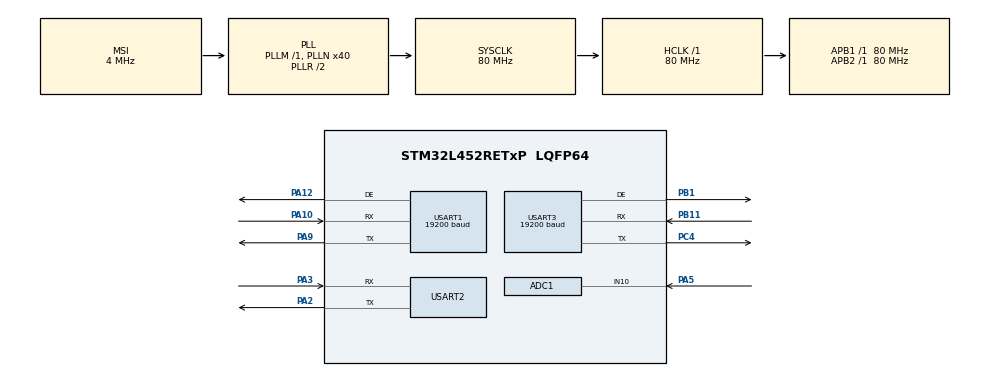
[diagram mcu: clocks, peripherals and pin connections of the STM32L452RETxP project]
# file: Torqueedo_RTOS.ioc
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<<<<<<< HEAD
ADC1.Channel-0\#ChannelRegularConversion=ADC_CHANNEL_10
ADC1.NbrOfConversionFlag=1
ADC1.OffsetNumber-0\#ChannelRegularConversion=ADC_OFFSET_NONE
ADC1.Rank-0\#ChannelRegularConversion=1
ADC1.SamplingTime-0\#ChannelRegularConversion=ADC_SAMPLETIME_2CYCLES_5
ADC1.master=1
Dma.Request0=USART2_RX
Dma.Request1=USART3_RX
Dma.USART2_RX.0.Direction=DMA_PERIPH_TO_MEMORY
Dma.USART2_RX.0.Instance=DMA1_Channel6
Dma.USART2_RX.0.MemDataAlignment=DMA_MDATAALIGN_BYTE
Dma.USART2_RX.0.MemInc=DMA_MINC_ENABLE
Dma.USART2_RX.0.Mode=DMA_NORMAL
Dma.USART2_RX.0.PeriphDataAlignment=DMA_PDATAALIGN_BYTE
Dma.USART2_RX.0.PeriphInc=DMA_PINC_DISABLE
Dma.USART2_RX.0.Priority=DMA_PRIORITY_LOW
Dma.USART3_RX.1.Direction=DMA_PERIPH_TO_MEMORY
Dma.USART3_RX.1.Instance=DMA1_Channel3
Dma.USART3_RX.1.MemDataAlignment=DMA_MDATAALIGN_BYTE
Dma.USART3_RX.1.MemInc=DMA_MINC_ENABLE
Dma.USART3_RX.1.Mode=DMA_NORMAL
Dma.USART3_RX.1.PeriphDataAlignment=DMA_PDATAALIGN_BYTE
Dma.USART3_RX.1.PeriphInc=DMA_PINC_DISABLE
Dma.USART3_RX.1.Priority=DMA_PRIORITY_LOW
FREERTOS.BinarySemaphores01=UART1_Bytes,Dynamic,NULL;UART3_Bytes,Dynamic,NULL
FREERTOS.Queues01=Input_UART,50,uint8_t,0,Dynamic,NULL,NULL
FREERTOS.Tasks01=defaultTask,24,128,StartDefaultTask,Default,NULL,Dynamic,NULL,NULL;UART1_to_Queue,24,128,Start_UART1_to_Queue,Default,NULL,Dynamic,NULL,NULL;Queue_to_Motor,8,128,StartQueue_to_Motor,Default,NULL,Dynamic,NULL,NULL;UART3_to_Queue,24,128,StartUART3_to_Queue,Default,NULL,Dynamic,NULL,NULL;Queue_to_SH,8,128,StartQueue_to_SH,Default,NULL,Dynamic,NULL,NULL
FREERTOS.configTOTAL_HEAP_SIZE=5000
Mcu.Family=STM32L4
Mcu.Name=STM32L452RETxP
Mcu.Package=LQFP64
NVIC.DMA1_Channel3_IRQn=true\:5\:0\:false\:false\:true\:true\:false\:true
NVIC.DMA1_Channel6_IRQn=true\:5\:0\:false\:false\:true\:true\:false\:true
NVIC.PriorityGroup=NVIC_PRIORITYGROUP_4
NVIC.TIM1_UP_TIM16_IRQn=true\:0\:0\:false\:false\:true\:false\:false\:true
NVIC.TIM2_IRQn=true\:5\:0\:false\:false\:true\:true\:true\:true
NVIC.TimeBase=TIM1_UP_TIM16_IRQn
NVIC.TimeBaseIP=TIM1
NVIC.USART1_IRQn=true\:5\:0\:false\:false\:true\:true\:true\:true
NVIC.USART2_IRQn=true\:5\:0\:false\:false\:true\:true\:true\:true
NVIC.USART3_IRQn=true\:5\:0\:false\:false\:true\:true\:true\:true
PA10.Mode=Asynchronous
PA10.Signal=USART1_RX
PA12.Mode=Hardware Flow Control (RS485)
PA12.Signal=USART1_DE
PA2.Mode=Asynchronous
PA2.Signal=USART2_TX
PA3.Mode=Asynchronous
PA3.Signal=USART2_RX
PA5.Signal=ADCx_IN10
PA9.Mode=Asynchronous
PA9.Signal=USART1_TX
PB1.Mode=Hardware Flow Control (RS485)
PB1.Signal=USART3_DE
PB11.Mode=Asynchronous
PB11.Signal=USART3_RX
PC4.Mode=Asynchronous
PC4.Signal=USART3_TX
ProjectManager.HeapSize=0x200
ProjectManager.StackSize=0x400
ProjectManager.TargetToolchain=STM32CubeIDE
RCC.ADCFreq_Value=32000000
RCC.AHBFreq_Value=80000000
RCC.APB1Freq_Value=80000000
RCC.APB1TimFreq_Value=80000000
RCC.APB2Freq_Value=80000000
RCC.APB2TimFreq_Value=80000000
RCC.CortexFreq_Value=80000000
RCC.HCLKFreq_Value=80000000
RCC.HSE_VALUE=8000000
RCC.HSI48_VALUE=48000000
RCC.HSI_VALUE=16000000
RCC.LSE_VALUE=32768
RCC.MSI_VALUE=4000000
RCC.PLLN=40
RCC.PLLSAI1N=16
RCC.SYSCLKFreq_VALUE=80000000
RCC.SYSCLKSource=RCC_SYSCLKSOURCE_PLLCLK
RCC.USBFreq_Value=32000000
RCC.VCOOutputFreq_Value=160000000
SH.ADCx_IN10.0=ADC1_IN10,IN10-Single-Ended
TIM2.Channel-Output\ Compare1\ No\ Output=TIM_CHANNEL_1
TIM2.Period=5000
TIM2.Prescaler=8
USART1.BaudRate=19200
USART1.VirtualMode-Asynchronous=VM_ASYNC
USART1.VirtualMode-Hardware\ Flow\ Control\ (RS485)=VM_ASYNC
USART2.VirtualMode-Asynchronous=VM_ASYNC
USART3.BaudRate=19200
USART3.VirtualMode-Asynchronous=VM_ASYNC
USART3.VirtualMode-Hardware\ Flow\ Control\ (RS485)=VM_ASYNC
VP_FREERTOS_VS_CMSIS_V2.Mode=CMSIS_V2
VP_SYS_VS_tim1.Mode=TIM1
VP_TIM2_VS_no_output1.Mode=Output Compare1 No Output
board=custom
=======
ADC1.Channel-0\#ChannelRegularConversion=ADC_CHANNEL_10
ADC1.NbrOfConversionFlag=1
ADC1.OffsetNumber-0\#ChannelRegularConversion=ADC_OFFSET_NONE
ADC1.Rank-0\#ChannelRegularConversion=1
ADC1.SamplingTime-0\#ChannelRegularConversion=ADC_SAMPLETIME_2CYCLES_5
ADC1.master=1
Dma.Request0=USART2_RX
Dma.Request1=USART3_RX
Dma.USART2_RX.0.Direction=DMA_PERIPH_TO_MEMORY
Dma.USART2_RX.0.Instance=DMA1_Channel6
Dma.USART2_RX.0.MemDataAlignment=DMA_MDATAALIGN_BYTE
Dma.USART2_RX.0.MemInc=DMA_MINC_ENABLE
Dma.USART2_RX.0.Mode=DMA_NORMAL
Dma.USART2_RX.0.PeriphDataAlignment=DMA_PDATAALIGN_BYTE
Dma.USART2_RX.0.PeriphInc=DMA_PINC_DISABLE
Dma.USART2_RX.0.Priority=DMA_PRIORITY_LOW
Dma.USART3_RX.1.Direction=DMA_PERIPH_TO_MEMORY
Dma.USART3_RX.1.Instance=DMA1_Channel3
Dma.USART3_RX.1.MemDataAlignment=DMA_MDATAALIGN_BYTE
Dma.USART3_RX.1.MemInc=DMA_MINC_ENABLE
Dma.USART3_RX.1.Mode=DMA_NORMAL
Dma.USART3_RX.1.PeriphDataAlignment=DMA_PDATAALIGN_BYTE
Dma.USART3_RX.1.PeriphInc=DMA_PINC_DISABLE
Dma.USART3_RX.1.Priority=DMA_PRIORITY_LOW
FREERTOS.BinarySemaphores01=UART1_Bytes,Dynamic,NULL;UART3_Bytes,Dynamic,NULL
FREERTOS.Queues01=Input_UART,50,uint8_t,0,Dynamic,NULL,NULL
FREERTOS.Tasks01=defaultTask,24,128,StartDefaultTask,Default,NULL,Dynamic,NULL,NULL;UART1_to_Queue,24,128,Start_UART1_to_Queue,Default,NULL,Dynamic,NULL,NULL;Queue_to_Motor,8,128,StartQueue_to_Motor,Default,NULL,Dynamic,NULL,NULL;UART3_to_Queue,24,128,StartUART3_to_Queue,Default,NULL,Dynamic,NULL,NULL;Queue_to_SH,8,128,StartQueue_to_SH,Default,NULL,Dynamic,NULL,NULL
FREERTOS.configTOTAL_HEAP_SIZE=5000
Mcu.Family=STM32L4
Mcu.Name=STM32L452RETxP
Mcu.Package=LQFP64
NVIC.DMA1_Channel3_IRQn=true\:5\:0\:false\:false\:true\:true\:false\:true
NVIC.DMA1_Channel6_IRQn=true\:5\:0\:false\:false\:true\:true\:false\:true
NVIC.PriorityGroup=NVIC_PRIORITYGROUP_4
NVIC.TIM1_UP_TIM16_IRQn=true\:0\:0\:false\:false\:true\:false\:false\:true
NVIC.TIM2_IRQn=true\:5\:0\:false\:false\:true\:true\:true\:true
NVIC.TimeBase=TIM1_UP_TIM16_IRQn
NVIC.TimeBaseIP=TIM1
NVIC.USART1_IRQn=true\:5\:0\:false\:false\:true\:true\:true\:true
NVIC.USART2_IRQn=true\:5\:0\:false\:false\:true\:true\:true\:true
NVIC.USART3_IRQn=true\:5\:0\:false\:false\:true\:true\:true\:true
PA10.Mode=Asynchronous
PA10.Signal=USART1_RX
PA12.Mode=Hardware Flow Control (RS485)
PA12.Signal=USART1_DE
PA2.Mode=Asynchronous
PA2.Signal=USART2_TX
PA3.Mode=Asynchronous
PA3.Signal=USART2_RX
PA5.Signal=ADCx_IN10
PA9.Mode=Asynchronous
PA9.Signal=USART1_TX
PB1.Mode=Hardware Flow Control (RS485)
PB1.Signal=USART3_DE
PB11.Mode=Asynchronous
PB11.Signal=USART3_RX
PC4.Mode=Asynchronous
PC4.Signal=USART3_TX
ProjectManager.HeapSize=0x200
ProjectManager.StackSize=0x400
ProjectManager.TargetToolchain=STM32CubeIDE
RCC.ADCFreq_Value=32000000
RCC.AHBFreq_Value=80000000
RCC.APB1Freq_Value=80000000
RCC.APB1TimFreq_Value=80000000
RCC.APB2Freq_Value=80000000
RCC.APB2TimFreq_Value=80000000
RCC.CortexFreq_Value=80000000
RCC.HCLKFreq_Value=80000000
RCC.HSE_VALUE=8000000
RCC.HSI48_VALUE=48000000
RCC.HSI_VALUE=16000000
RCC.LSE_VALUE=32768
RCC.MSI_VALUE=4000000
RCC.PLLN=40
RCC.PLLSAI1N=16
RCC.SYSCLKFreq_VALUE=80000000
RCC.SYSCLKSource=RCC_SYSCLKSOURCE_PLLCLK
RCC.USBFreq_Value=32000000
RCC.VCOOutputFreq_Value=160000000
SH.ADCx_IN10.0=ADC1_IN10,IN10-Single-Ended
TIM2.Channel-Output\ Compare1\ No\ Output=TIM_CHANNEL_1
TIM2.Period=5000
TIM2.Prescaler=8
USART1.BaudRate=19200
USART1.VirtualMode-Asynchronous=VM_ASYNC
USART1.VirtualMode-Hardware\ Flow\ Control\ (RS485)=VM_ASYNC
USART2.VirtualMode-Asynchronous=VM_ASYNC
USART3.BaudRate=19200
USART3.VirtualMode-Asynchronous=VM_ASYNC
USART3.VirtualMode-Hardware\ Flow\ Control\ (RS485)=VM_ASYNC
VP_FREERTOS_VS_CMSIS_V2.Mode=CMSIS_V2
VP_SYS_VS_tim1.Mode=TIM1
VP_TIM2_VS_no_output1.Mode=Output Compare1 No Output
board=custom
>>>>>>> 82a119c68837de2659087f5803dcc442e7776ce2

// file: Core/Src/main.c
/* USER CODE BEGIN Header */
/**
  ******************************************************************************
  * @file           : main.c
  * @brief          : Main program body
  ******************************************************************************
  * @attention
  *
  * <h2><center>&copy; Copyright (c) 2021 STMicroelectronics.
  * All rights reserved.</center></h2>
  *
  * This software component is licensed by ST under BSD 3-Clause license,
  * the "License"; You may not use this file except in compliance with the
  * License. You may obtain a copy of the License at:
  *                        opensource.org/licenses/BSD-3-Clause
  *
  ******************************************************************************
  */
/* USER CODE END Header */
#include "main.h"
#include "cmsis_os.h"

ADC_HandleTypeDef hadc1;

TIM_HandleTypeDef htim2;

UART_HandleTypeDef huart1;
UART_HandleTypeDef huart2;
UART_HandleTypeDef huart3;
DMA_HandleTypeDef hdma_usart2_rx;
DMA_HandleTypeDef hdma_usart3_rx;

/* Definitions for defaultTask */
osThreadId_t defaultTaskHandle;
const osThreadAttr_t defaultTask_attributes = {
  .name = "defaultTask",
  .priority = (osPriority_t) osPriorityNormal,
  .stack_size = 128 * 4
};
/* Definitions for UART1_to_Queue */
osThreadId_t UART1_to_QueueHandle;
const osThreadAttr_t UART1_to_Queue_attributes = {
  .name = "UART1_to_Queue",
  .priority = (osPriority_t) osPriorityNormal,
  .stack_size = 128 * 4
};
/* Definitions for Queue_to_Motor */
osThreadId_t Queue_to_MotorHandle;
const osThreadAttr_t Queue_to_Motor_attributes = {
  .name = "Queue_to_Motor",
  .priority = (osPriority_t) osPriorityLow,
  .stack_size = 128 * 4
};
/* Definitions for UART3_to_Queue */
osThreadId_t UART3_to_QueueHandle;
const osThreadAttr_t UART3_to_Queue_attributes = {
  .name = "UART3_to_Queue",
  .priority = (osPriority_t) osPriorityNormal,
  .stack_size = 128 * 4
};
/* Definitions for Queue_to_SH */
osThreadId_t Queue_to_SHHandle;
const osThreadAttr_t Queue_to_SH_attributes = {
  .name = "Queue_to_SH",
  .priority = (osPriority_t) osPriorityLow,
  .stack_size = 128 * 4
};
/* Definitions for Input_UART */
osMessageQueueId_t Input_UARTHandle;
const osMessageQueueAttr_t Input_UART_attributes = {
  .name = "Input_UART"
};
/* Definitions for UART1_Bytes */
osSemaphoreId_t UART1_BytesHandle;
const osSemaphoreAttr_t UART1_Bytes_attributes = {
  .name = "UART1_Bytes"
};
/* Definitions for UART3_Bytes */
osSemaphoreId_t UART3_BytesHandle;
const osSemaphoreAttr_t UART3_Bytes_attributes = {
  .name = "UART3_Bytes"
};

void SystemClock_Config(void);
static void MX_GPIO_Init(void);
static void MX_DMA_Init(void);
static void MX_USART1_UART_Init(void);
static void MX_USART2_UART_Init(void);
static void MX_USART3_UART_Init(void);
static void MX_TIM2_Init(void);
static void MX_ADC1_Init(void);
void StartDefaultTask(void *argument);
void Start_UART1_to_Queue(void *argument);
void StartQueue_to_Motor(void *argument);
void StartUART3_to_Queue(void *argument);
void StartQueue_to_SH(void *argument);

/* USER CODE BEGIN 0 */
uint8_t RxUART1[5] = "";
uint8_t RxUART3[5] = "";
_Bool first_TIM2_ISR = 0;
_Bool Time_over = 0;
_Bool UART1_active = 0;
_Bool UART3_active = 0;
uint8_t wait_to_start = 0;

uint32_t ADC_Read[11] = {0,0,0,0,0,0,0,0,0,0,0};
uint8_t ADC_Val[1] = "\0";

uint8_t Speed_Data [201][9] = 	{{172,48,130,1,100,252,24,154,173},
								{172,48,130,1,100,252,34,90,173},
								{172,48,130,1,100,252,44,69,173},
								{172,48,130,1,100,252,54,166,173},
								{172,48,130,1,100,252,64,131,173},
								{172,48,130,1,100,252,74,253,173},
								{172,48,130,1,100,252,84,127,173},
								{172,48,130,1,100,252,94,1,173},
								{172,48,130,1,100,252,104,98,173},
								{172,48,130,1,100,252,114,129,173},
								{172,48,130,1,100,252,124,158,173},
								{172,48,130,1,100,252,134,148,173},
								{172,48,130,1,100,252,144,212,173},
								{172,48,130,1,100,252,154,170,173},
								{172,48,130,1,100,252,164,11,173},
								{172,48,130,1,100,252,174,117,173},
								{172,48,130,1,100,252,184,53,173},
								{172,48,130,1,100,252,194,179,173},
								{172,48,130,1,100,252,203,47,173},
								{172,48,130,1,100,252,214,79,173},
								{172,48,130,1,100,252,224,44,173},
								{172,48,130,1,100,252,234,82,173},
								{172,48,130,1,100,252,244,208,173},
								{172,48,130,1,100,252,254,174,173},
								{172,48,130,1,100,253,8,195,173},
								{172,48,130,1,100,253,18,32,173},
								{172,48,130,1,100,253,28,63,173},
								{172,48,130,1,100,253,38,255,173},
								{172,48,130,1,100,253,48,191,173},
								{172,48,130,1,100,253,58,193,173},
								{172,48,130,1,100,253,68,38,173},
								{172,48,130,1,100,253,78,88,173},
								{172,48,130,1,100,253,88,24,173},
								{172,48,130,1,100,253,98,216,173},
								{172,48,130,1,100,253,108,199,173},
								{172,48,130,1,100,253,118,36,173},
								{172,48,130,1,100,253,128,141,173},
								{172,48,130,1,100,253,138,243,173},
								{172,48,130,1,100,253,148,113,173},
								{172,48,130,1,100,253,158,15,173},
								{172,48,130,1,100,253,168,108,173},
								{172,48,130,1,100,253,178,143,173},
								{172,48,130,1,100,253,188,144,173},
								{172,48,130,1,100,253,198,22,173},
								{172,48,130,1,100,253,208,86,173},
								{172,48,130,1,100,253,218,40,173},
								{172,48,130,1,100,253,228,137,173},
								{172,48,130,1,100,253,238,247,173},
								{172,48,130,1,100,253,248,183,173},
								{172,48,130,1,100,254,2,232,173},
								{172,48,130,1,100,254,12,247,173},
								{172,48,130,1,100,254,22,20,173},
								{172,48,130,1,100,254,32,119,173},
								{172,48,130,1,100,254,42,9,173},
								{172,48,130,1,100,254,52,139,173},
								{172,48,130,1,100,254,62,245,173},
								{172,48,130,1,100,254,72,208,173},
								{172,48,130,1,100,254,82,51,173},
								{172,48,130,1,100,254,92,44,173},
								{172,48,130,1,100,254,102,236,173},
								{172,48,130,1,100,254,111,112,173},
								{172,48,130,1,100,254,122,210,173},
								{172,48,130,1,100,254,132,185,173},
								{172,48,130,1,100,254,142,199,173},
								{172,48,130,1,100,254,152,135,173},
								{172,48,130,1,100,254,162,71,173},
								{172,48,130,1,100,254,171,219,173},
								{172,48,130,1,100,254,182,187,173},
								{172,48,130,1,100,254,192,158,173},
								{172,48,130,1,100,254,202,224,173},
								{172,48,130,1,100,254,212,98,173},
								{172,48,130,1,100,254,222,28,173},
								{172,48,130,1,100,254,232,127,173},
								{172,48,130,1,100,254,242,156,173},
								{172,48,130,1,100,254,252,131,173},
								{172,48,130,1,100,255,6,77,173},
								{172,48,130,1,100,255,16,13,173},
								{172,48,130,1,100,255,26,115,173},
								{172,48,130,1,100,255,36,210,173},
								{172,48,130,1,100,255,45,78,173},
								{172,48,130,1,100,255,56,236,173},
								{172,48,130,1,100,255,66,106,173},
								{172,48,130,1,100,255,76,117,173},
								{172,48,130,1,100,255,86,150,173},
								{172,48,130,1,100,255,96,245,173},
								{172,48,130,1,100,255,106,139,173},
								{172,48,130,1,100,255,116,9,173},
								{172,48,130,1,100,255,126,119,173},
								{172,48,130,1,100,255,136,222,173},
								{172,48,130,1,100,255,146,61,173},
								{172,48,130,1,100,255,156,34,173},
								{172,48,130,1,100,255,166,226,173},
								{172,48,130,1,100,255,176,162,173},
								{172,48,130,1,100,255,186,220,173},
								{172,48,130,1,100,255,196,59,173},
								{172,48,130,1,100,255,206,69,173},
								{172,48,130,1,100,255,216,5,173},
								{172,48,130,1,100,255,226,197,173},
								{172,48,130,1,100,255,236,218,173},
								{172,48,130,1,100,255,246,57,173},
								{172,48,130,1,100,0,0,17,173},
								{172,48,130,1,100,0,10,111,173},
								{172,48,130,1,100,0,20,237,173},
								{172,48,130,1,100,0,30,147,173},
								{172,48,130,1,100,0,40,240,173},
								{172,48,130,1,100,0,50,19,173},
								{172,48,130,1,100,0,60,12,173},
								{172,48,130,1,100,0,70,138,173},
								{172,48,130,1,100,0,80,202,173},
								{172,48,130,1,100,0,90,180,173},
								{172,48,130,1,100,0,100,21,173},
								{172,48,130,1,100,0,110,107,173},
								{172,48,130,1,100,0,120,43,173},
								{172,48,130,1,100,0,130,33,173},
								{172,48,130,1,100,0,140,62,173},
								{172,48,130,1,100,0,150,221,173},
								{172,48,130,1,100,0,160,190,173},
								{172,48,130,1,100,0,170,192,173},
								{172,48,130,1,100,0,180,66,173},
								{172,48,130,1,100,0,190,60,173},
								{172,48,130,1,100,0,200,25,173},
								{172,48,130,1,100,0,210,250,173},
								{172,48,130,1,100,0,220,229,173},
								{172,48,130,1,100,0,230,37,173},
								{172,48,130,1,100,0,240,101,173},
								{172,48,130,1,100,0,250,27,173},
								{172,48,130,1,100,1,4,180,173},
								{172,48,130,1,100,1,14,202,173},
								{172,48,130,1,100,1,24,138,173},
								{172,48,130,1,100,1,34,74,173},
								{172,48,130,1,100,1,44,85,173},
								{172,48,130,1,100,1,54,182,173},
								{172,48,130,1,100,1,64,147,173},
								{172,48,130,1,100,1,74,237,173},
								{172,48,130,1,100,1,84,111,173},
								{172,48,130,1,100,1,94,17,173},
								{172,48,130,1,100,1,104,114,173},
								{172,48,130,1,100,1,114,145,173},
								{172,48,130,1,100,1,124,142,173},
								{172,48,130,1,100,1,134,132,173},
								{172,48,130,1,100,1,144,196,173},
								{172,48,130,1,100,1,154,186,173},
								{172,48,130,1,100,1,164,27,173},
								{172,48,130,1,100,1,174,101,173},
								{172,48,130,1,100,1,184,37,173},
								{172,48,130,1,100,1,194,163,173},
								{172,48,130,1,100,1,204,188,173},
								{172,48,130,1,100,1,214,95,173},
								{172,48,130,1,100,1,224,60,173},
								{172,48,130,1,100,1,234,66,173},
								{172,48,130,1,100,1,244,192,173},
								{172,48,130,1,100,1,254,190,173},
								{172,48,130,1,100,2,8,66,173},
								{172,48,130,1,100,2,18,161,173},
								{172,48,130,1,100,2,28,190,173},
								{172,48,130,1,100,2,38,126,173},
								{172,48,130,1,100,2,48,62,173},
								{172,48,130,1,100,2,58,64,173},
								{172,48,130,1,100,2,68,167,173},
								{172,48,130,1,100,2,78,217,173},
								{172,48,130,1,100,2,88,153,173},
								{172,48,130,1,100,2,98,89,173},
								{172,48,130,1,100,2,108,70,173},
								{172,48,130,1,100,2,118,165,173},
								{172,48,130,1,100,2,128,12,173},
								{172,48,130,1,100,2,138,114,173},
								{172,48,130,1,100,2,148,240,173},
								{172,48,130,1,100,2,158,142,173},
								{172,48,130,1,100,2,168,237,173},
								{172,48,130,1,100,2,178,14,173},
								{172,48,130,1,100,2,188,17,173},
								{172,48,130,1,100,2,198,151,173},
								{172,48,130,1,100,2,208,215,173},
								{172,48,130,1,100,2,218,169,173},
								{172,48,130,1,100,2,228,8,173},
								{172,48,130,1,100,2,238,118,173},
								{172,48,130,1,100,2,248,54,173},
								{172,48,130,1,100,3,2,248,173},
								{172,48,130,1,100,3,12,231,173},
								{172,48,130,1,100,3,22,4,173},
								{172,48,130,1,100,3,32,103,173},
								{172,48,130,1,100,3,42,25,173},
								{172,48,130,1,100,3,52,155,173},
								{172,48,130,1,100,3,62,229,173},
								{172,48,130,1,100,3,72,192,173},
								{172,48,130,1,100,3,82,35,173},
								{172,48,130,1,100,3,92,60,173},
								{172,48,130,1,100,3,102,252,173},
								{172,48,130,1,100,3,112,188,173},
								{172,48,130,1,100,3,122,194,173},
								{172,48,130,1,100,3,132,169,173},
								{172,48,130,1,100,3,142,215,173},
								{172,48,130,1,100,3,152,151,173},
								{172,48,130,1,100,3,162,87,173},
								{172,48,130,1,100,3,174,244,173},
								{172,48,130,1,100,3,182,171,173},
								{172,48,130,1,100,3,192,142,173},
								{172,48,130,1,100,3,202,240,173},
								{172,48,130,1,100,3,212,114,173},
								{172,48,130,1,100,3,222,12,173},
								{172,48,130,1,100,3,232,111,173}};

void HAL_UART_RxCpltCallback(UART_HandleTypeDef *huart)
{
	if (huart->Instance == USART1)
	{

		HAL_UART_Receive_IT(&huart1, RxUART1, 1);
		osSemaphoreRelease(UART1_BytesHandle);

		//Timer aktuell nur für besseres Debugging
		/*if(__HAL_TIM_GET_COUNTER(&htim2) == 0) //Falls Timer nicht aktiv -> aktivieren
		{
			MX_TIM2_Init();
			first_TIM2_ISR = 0;
			HAL_TIM_Base_Start_IT(&htim2);
		}
		if(__HAL_TIM_GET_COUNTER(&htim2) != 0) //Falls Timer aktiv -> zurücksetzen
		{
			__HAL_TIM_SET_COUNTER(&htim2, 1);
		}*/

	}
	else if (huart->Instance == USART2)
	{

	}
	else if (huart->Instance == USART3)
	{
		HAL_UART_Receive_IT(&huart3, RxUART3, 1);
		osSemaphoreRelease(UART3_BytesHandle);

		//Timer aktuell nur für besseres Debugging
		/*if(__HAL_TIM_GET_COUNTER(&htim2) == 0) //Falls Timer nicht aktiv -> aktivieren
		{
			MX_TIM2_Init();
			first_TIM2_ISR = 0;
			HAL_TIM_Base_Start_IT(&htim2);
		}
		if(__HAL_TIM_GET_COUNTER(&htim2) != 0) //Falls Timer aktiv -> zurücksetzen
		{
			__HAL_TIM_SET_COUNTER(&htim2, 1);
		}*/
	}
}

/* USER CODE END 0 */

int main(void)
{

  /* MCU Configuration--------------------------------------------------------*/

  /* Reset of all peripherals, Initializes the Flash interface and the Systick. */
  HAL_Init();

  /* Configure the system clock */
  SystemClock_Config();

  /* Initialize all configured peripherals */
  MX_GPIO_Init();
  MX_DMA_Init();
  MX_USART1_UART_Init();
  MX_USART2_UART_Init();
  MX_USART3_UART_Init();
  MX_TIM2_Init();
  MX_ADC1_Init();
  /* USER CODE BEGIN 2 */
  //Start des Programms erst nach mehr als 5 Mikrosekunden Ruhe auf dem Empfangspin des UART1
  /*uint8_t Text[10] = "Boot";
  HAL_UART_Transmit(&huart2, Text, sizeof(Text),10);
  //for(wait_to_start = 0; wait_to_start < ; wait_to_start++)
  //{
	  MX_TIM2_Init();
	  HAL_TIM_Base_Start_IT(&htim2);
	  while(!Time_over)
	  {
		  if(!HAL_GPIO_ReadPin(GPIOA, GPIO_PIN_10))
		  {
			  __HAL_TIM_SET_COUNTER(&htim2, 1);
			  wait_to_start = 0;
		  }
	  }
	  Time_over = 0;
  //}
  //Start UART1 Interrupt*/
  HAL_TIM_Base_Start_IT(&htim2);
  HAL_UART_Receive_IT(&huart1, RxUART1, 1);
  HAL_UART_Receive_IT(&huart3, RxUART1, 1);
  uint8_t Text1[10] = "Start";
  HAL_UART_Transmit(&huart2, Text1, sizeof(Text1),10);

  HAL_UART_Receive_IT(&huart1, RxUART1, 1);
  HAL_UART_Receive_IT(&huart3, RxUART1, 1);

  HAL_ADCEx_Calibration_Start(&hadc1, ADC_SINGLE_ENDED);
  /* USER CODE END 2 */

  /* Init scheduler */
  osKernelInitialize();

  /* Create the semaphores(s) */
  /* creation of UART1_Bytes */
  UART1_BytesHandle = osSemaphoreNew(1, 1, &UART1_Bytes_attributes);

  /* creation of UART3_Bytes */
  UART3_BytesHandle = osSemaphoreNew(1, 1, &UART3_Bytes_attributes);

  /* Create the queue(s) */
  /* creation of Input_UART */
  Input_UARTHandle = osMessageQueueNew (50, sizeof(uint8_t), &Input_UART_attributes);

  /* Create the thread(s) */
  /* creation of defaultTask */
  defaultTaskHandle = osThreadNew(StartDefaultTask, NULL, &defaultTask_attributes);

  /* creation of UART1_to_Queue */
  UART1_to_QueueHandle = osThreadNew(Start_UART1_to_Queue, NULL, &UART1_to_Queue_attributes);

  /* creation of Queue_to_Motor */
  Queue_to_MotorHandle = osThreadNew(StartQueue_to_Motor, NULL, &Queue_to_Motor_attributes);

  /* creation of UART3_to_Queue */
  UART3_to_QueueHandle = osThreadNew(StartUART3_to_Queue, NULL, &UART3_to_Queue_attributes);

  /* creation of Queue_to_SH */
  Queue_to_SHHandle = osThreadNew(StartQueue_to_SH, NULL, &Queue_to_SH_attributes);

  /* Start scheduler */
  osKernelStart();

  /* We should never get here as control is now taken by the scheduler */
  /* Infinite loop */
  while (1)
  {

  }
}

void SystemClock_Config(void)
{
  RCC_OscInitTypeDef RCC_OscInitStruct = {0};
  RCC_ClkInitTypeDef RCC_ClkInitStruct = {0};
  RCC_PeriphCLKInitTypeDef PeriphClkInit = {0};

  /** Initializes the RCC Oscillators according to the specified parameters
  * in the RCC_OscInitTypeDef structure.
  */
  RCC_OscInitStruct.OscillatorType = RCC_OSCILLATORTYPE_MSI;
  RCC_OscInitStruct.MSIState = RCC_MSI_ON;
  RCC_OscInitStruct.MSICalibrationValue = 0;
  RCC_OscInitStruct.MSIClockRange = RCC_MSIRANGE_6;
  RCC_OscInitStruct.PLL.PLLState = RCC_PLL_ON;
  RCC_OscInitStruct.PLL.PLLSource = RCC_PLLSOURCE_MSI;
  RCC_OscInitStruct.PLL.PLLM = 1;
  RCC_OscInitStruct.PLL.PLLN = 40;
  RCC_OscInitStruct.PLL.PLLP = RCC_PLLP_DIV7;
  RCC_OscInitStruct.PLL.PLLQ = RCC_PLLQ_DIV2;
  RCC_OscInitStruct.PLL.PLLR = RCC_PLLR_DIV2;
  if (HAL_RCC_OscConfig(&RCC_OscInitStruct) != HAL_OK)
  {
    Error_Handler();
  }
  /** Initializes the CPU, AHB and APB buses clocks
  */
  RCC_ClkInitStruct.ClockType = RCC_CLOCKTYPE_HCLK|RCC_CLOCKTYPE_SYSCLK
                              |RCC_CLOCKTYPE_PCLK1|RCC_CLOCKTYPE_PCLK2;
  RCC_ClkInitStruct.SYSCLKSource = RCC_SYSCLKSOURCE_PLLCLK;
  RCC_ClkInitStruct.AHBCLKDivider = RCC_SYSCLK_DIV1;
  RCC_ClkInitStruct.APB1CLKDivider = RCC_HCLK_DIV1;
  RCC_ClkInitStruct.APB2CLKDivider = RCC_HCLK_DIV1;

  if (HAL_RCC_ClockConfig(&RCC_ClkInitStruct, FLASH_LATENCY_4) != HAL_OK)
  {
    Error_Handler();
  }
  PeriphClkInit.PeriphClockSelection = RCC_PERIPHCLK_USART1|RCC_PERIPHCLK_USART2
                              |RCC_PERIPHCLK_USART3|RCC_PERIPHCLK_ADC;
  PeriphClkInit.Usart1ClockSelection = RCC_USART1CLKSOURCE_PCLK2;
  PeriphClkInit.Usart2ClockSelection = RCC_USART2CLKSOURCE_PCLK1;
  PeriphClkInit.Usart3ClockSelection = RCC_USART3CLKSOURCE_PCLK1;
  PeriphClkInit.AdcClockSelection = RCC_ADCCLKSOURCE_PLLSAI1;
  PeriphClkInit.PLLSAI1.PLLSAI1Source = RCC_PLLSOURCE_MSI;
  PeriphClkInit.PLLSAI1.PLLSAI1M = 1;
  PeriphClkInit.PLLSAI1.PLLSAI1N = 16;
  PeriphClkInit.PLLSAI1.PLLSAI1P = RCC_PLLP_DIV7;
  PeriphClkInit.PLLSAI1.PLLSAI1Q = RCC_PLLQ_DIV2;
  PeriphClkInit.PLLSAI1.PLLSAI1R = RCC_PLLR_DIV2;
  PeriphClkInit.PLLSAI1.PLLSAI1ClockOut = RCC_PLLSAI1_ADC1CLK;
  if (HAL_RCCEx_PeriphCLKConfig(&PeriphClkInit) != HAL_OK)
  {
    Error_Handler();
  }
  /** Configure the main internal regulator output voltage
  */
  if (HAL_PWREx_ControlVoltageScaling(PWR_REGULATOR_VOLTAGE_SCALE1) != HAL_OK)
  {
    Error_Handler();
  }
}

static void MX_ADC1_Init(void)
{

  ADC_ChannelConfTypeDef sConfig = {0};

  /** Common config
  */
  hadc1.Instance = ADC1;
  hadc1.Init.ClockPrescaler = ADC_CLOCK_ASYNC_DIV1;
  hadc1.Init.Resolution = ADC_RESOLUTION_12B;
  hadc1.Init.DataAlign = ADC_DATAALIGN_RIGHT;
  hadc1.Init.ScanConvMode = ADC_SCAN_DISABLE;
  hadc1.Init.EOCSelection = ADC_EOC_SINGLE_CONV;
  hadc1.Init.LowPowerAutoWait = DISABLE;
  hadc1.Init.ContinuousConvMode = DISABLE;
  hadc1.Init.NbrOfConversion = 1;
  hadc1.Init.DiscontinuousConvMode = DISABLE;
  hadc1.Init.ExternalTrigConv = ADC_SOFTWARE_START;
  hadc1.Init.ExternalTrigConvEdge = ADC_EXTERNALTRIGCONVEDGE_NONE;
  hadc1.Init.DMAContinuousRequests = DISABLE;
  hadc1.Init.Overrun = ADC_OVR_DATA_PRESERVED;
  hadc1.Init.OversamplingMode = DISABLE;
  if (HAL_ADC_Init(&hadc1) != HAL_OK)
  {
    Error_Handler();
  }
  /** Configure Regular Channel
  */
  sConfig.Channel = ADC_CHANNEL_10;
  sConfig.Rank = ADC_REGULAR_RANK_1;
  sConfig.SamplingTime = ADC_SAMPLETIME_2CYCLES_5;
  sConfig.SingleDiff = ADC_SINGLE_ENDED;
  sConfig.OffsetNumber = ADC_OFFSET_NONE;
  sConfig.Offset = 0;
  if (HAL_ADC_ConfigChannel(&hadc1, &sConfig) != HAL_OK)
  {
    Error_Handler();
  }

}

static void MX_TIM2_Init(void)
{

  /* USER CODE BEGIN TIM2_Init 0 */
  /* 1 Millisekunde pro Intervall*/
  /* USER CODE END TIM2_Init 0 */

  TIM_MasterConfigTypeDef sMasterConfig = {0};
  TIM_OC_InitTypeDef sConfigOC = {0};

  htim2.Instance = TIM2;
  htim2.Init.Prescaler = 80;
  htim2.Init.CounterMode = TIM_COUNTERMODE_UP;
  htim2.Init.Period = 5000;
  htim2.Init.ClockDivision = TIM_CLOCKDIVISION_DIV1;
  htim2.Init.AutoReloadPreload = TIM_AUTORELOAD_PRELOAD_DISABLE;
  if (HAL_TIM_OC_Init(&htim2) != HAL_OK)
  {
    Error_Handler();
  }
  sMasterConfig.MasterOutputTrigger = TIM_TRGO_RESET;
  sMasterConfig.MasterSlaveMode = TIM_MASTERSLAVEMODE_DISABLE;
  if (HAL_TIMEx_MasterConfigSynchronization(&htim2, &sMasterConfig) != HAL_OK)
  {
    Error_Handler();
  }
  sConfigOC.OCMode = TIM_OCMODE_TIMING;
  sConfigOC.Pulse = 0;
  sConfigOC.OCPolarity = TIM_OCPOLARITY_HIGH;
  sConfigOC.OCFastMode = TIM_OCFAST_DISABLE;
  if (HAL_TIM_OC_ConfigChannel(&htim2, &sConfigOC, TIM_CHANNEL_1) != HAL_OK)
  {
    Error_Handler();
  }

}

static void MX_USART1_UART_Init(void)
{

  huart1.Instance = USART1;
  huart1.Init.BaudRate = 19200;
  huart1.Init.WordLength = UART_WORDLENGTH_8B;
  huart1.Init.StopBits = UART_STOPBITS_1;
  huart1.Init.Parity = UART_PARITY_NONE;
  huart1.Init.Mode = UART_MODE_TX_RX;
  huart1.Init.HwFlowCtl = UART_HWCONTROL_NONE;
  huart1.Init.OverSampling = UART_OVERSAMPLING_16;
  huart1.Init.OneBitSampling = UART_ONE_BIT_SAMPLE_DISABLE;
  huart1.AdvancedInit.AdvFeatureInit = UART_ADVFEATURE_NO_INIT;
  if (HAL_RS485Ex_Init(&huart1, UART_DE_POLARITY_HIGH, 0, 0) != HAL_OK)
  {
    Error_Handler();
  }

}

static void MX_USART2_UART_Init(void)
{

  huart2.Instance = USART2;
  huart2.Init.BaudRate = 115200;
  huart2.Init.WordLength = UART_WORDLENGTH_8B;
  huart2.Init.StopBits = UART_STOPBITS_1;
  huart2.Init.Parity = UART_PARITY_NONE;
  huart2.Init.Mode = UART_MODE_TX_RX;
  huart2.Init.HwFlowCtl = UART_HWCONTROL_NONE;
  huart2.Init.OverSampling = UART_OVERSAMPLING_16;
  huart2.Init.OneBitSampling = UART_ONE_BIT_SAMPLE_DISABLE;
  huart2.AdvancedInit.AdvFeatureInit = UART_ADVFEATURE_NO_INIT;
  if (HAL_UART_Init(&huart2) != HAL_OK)
  {
    Error_Handler();
  }

}

static void MX_USART3_UART_Init(void)
{

  huart3.Instance = USART3;
  huart3.Init.BaudRate = 19200;
  huart3.Init.WordLength = UART_WORDLENGTH_8B;
  huart3.Init.StopBits = UART_STOPBITS_1;
  huart3.Init.Parity = UART_PARITY_NONE;
  huart3.Init.Mode = UART_MODE_TX_RX;
  huart3.Init.HwFlowCtl = UART_HWCONTROL_NONE;
  huart3.Init.OverSampling = UART_OVERSAMPLING_16;
  huart3.Init.OneBitSampling = UART_ONE_BIT_SAMPLE_DISABLE;
  huart3.AdvancedInit.AdvFeatureInit = UART_ADVFEATURE_NO_INIT;
  if (HAL_RS485Ex_Init(&huart3, UART_DE_POLARITY_HIGH, 0, 0) != HAL_OK)
  {
    Error_Handler();
  }

}

static void MX_DMA_Init(void)
{

  /* DMA controller clock enable */
  __HAL_RCC_DMA1_CLK_ENABLE();

  /* DMA interrupt init */
  /* DMA1_Channel3_IRQn interrupt configuration */
  HAL_NVIC_SetPriority(DMA1_Channel3_IRQn, 5, 0);
  HAL_NVIC_EnableIRQ(DMA1_Channel3_IRQn);
  /* DMA1_Channel6_IRQn interrupt configuration */
  HAL_NVIC_SetPriority(DMA1_Channel6_IRQn, 5, 0);
  HAL_NVIC_EnableIRQ(DMA1_Channel6_IRQn);

}

static void MX_GPIO_Init(void)
{

  /* GPIO Ports Clock Enable */
  __HAL_RCC_GPIOA_CLK_ENABLE();
  __HAL_RCC_GPIOC_CLK_ENABLE();
  __HAL_RCC_GPIOB_CLK_ENABLE();

}

void StartDefaultTask(void *argument)
{
  for(;;)
  {
    osDelay(1);
  }
}

void Start_UART1_to_Queue(void *argument)
{
  /* USER CODE BEGIN Start_UART1_to_Queue */
  /* Warte auf neues Byte von UART1 und transferiere es in die MessageQueue*/

  /* Infinite loop */
  for(;;)
  {

	  osSemaphoreAcquire(UART1_BytesHandle, osWaitForever);
	  UART3_active = 0;
	  UART1_active = 1;
	  osMessageQueuePut(Input_UARTHandle, &RxUART1, 0U, 0);
  }
  /* USER CODE END Start_UART1_to_Queue */
}

void StartQueue_to_Motor(void *argument)
{
  /* USER CODE BEGIN StartQueue_to_Motor */
  /* Sobald CPU-Recourcen frei sind und ein neues Byte in der MessageQueue steht, lese es.
   * Schreibe es in einen Buffer
   * Sende bei gefundenem ":" eine Meldung an UART2*/
  uint8_t Buffer[10] = "\0";
  uint8_t Debug[1] = "\0";

  /* Infinite loop */
  for(;;)
  {
	  if(osMessageQueueGetCount(Input_UARTHandle))
	  {

		  for(int i = 1; i <= 9; i++)
		  {
			  Buffer[i-1] = Buffer[i];
		  }
		  osMessageQueueGet(Input_UARTHandle, &Buffer[9], NULL, 0U);
		  Debug[0] = Buffer[9];

		  if(	Buffer[8] == 100 &&
				Buffer[7] == 1 &&
				Buffer[6] == 130 &&
				Buffer[5] == 48 &&
				Buffer[4] == 172	)
		  {
			  HAL_UART_Transmit(&huart2, ADC_Val, sizeof(ADC_Val), 1);
		  }

		  if(UART1_active)
		  {
			  HAL_UART_Transmit(&huart3, Debug, sizeof(Debug), 1);
		  }
		  if(UART3_active)
		  {
			  HAL_UART_Transmit(&huart1, Debug, sizeof(Debug), 1);
		  }

	  }
  }
  /* USER CODE END StartQueue_to_Motor */
}

void StartUART3_to_Queue(void *argument)
{
  /* USER CODE BEGIN StartUART3_to_Queue */
  /* Infinite loop */
  for(;;)
  {
	  osSemaphoreAcquire(UART3_BytesHandle, osWaitForever);
	  UART1_active = 0;
	  UART3_active = 1;
	  osMessageQueuePut(Input_UARTHandle, &RxUART3, 0U, 0);
  }
  /* USER CODE END StartUART3_to_Queue */
}

void StartQueue_to_SH(void *argument)
{
  for(;;)
  {
    osDelay(1);
  }
}

 /**
  * @brief  Period elapsed callback in non blocking mode
  * @note   This function is called  when TIM1 interrupt took place, inside
  * HAL_TIM_IRQHandler(). It makes a direct call to HAL_IncTick() to increment
  * a global variable "uwTick" used as application time base.
  * @param  htim : TIM handle
  * @retval None
  */
void HAL_TIM_PeriodElapsedCallback(TIM_HandleTypeDef *htim)
{
  /* USER CODE BEGIN Callback 0 */
  /*Dient aktuell nur zum Start des Controllers und zu Debuggingzwecken für die Übersichtlichkeit auf UART2
  /* USER CODE END Callback 0 */
  if (htim->Instance == TIM1) {
    HAL_IncTick();
  }
  /* USER CODE BEGIN Callback 1 */
  if (htim->Instance == TIM2)
  {
	 HAL_ADC_Start_DMA(&hadc1, &ADC_Read, 11);
	 ADC_Val[0] = ADC_Read[9]*200/4294967296;
	 /*if(!first_TIM2_ISR)
	 {
		 first_TIM2_ISR = 1;
	 }
	 else
	 {
		 Time_over = 1;
		 //uint8_t Text2[1] = "\n";
		 //osMessageQueuePut(Input_UART1Handle, &Text2[0], 0U, 0);
		 //HAL_UART_Transmit(&huart2, Text2, sizeof(Text2),10);
		 //osMessageQueueReset(Input_UART1Handle);
		 HAL_TIM_Base_Stop_IT(&htim2);
		 first_TIM2_ISR = 0;
	 }*/

  }
  /* USER CODE END Callback 1 */
}

void Error_Handler(void)
{
  __disable_irq();
  while (1)
  {
  }
}

/************************ (C) COPYRIGHT STMicroelectronics *****END OF FILE****/
